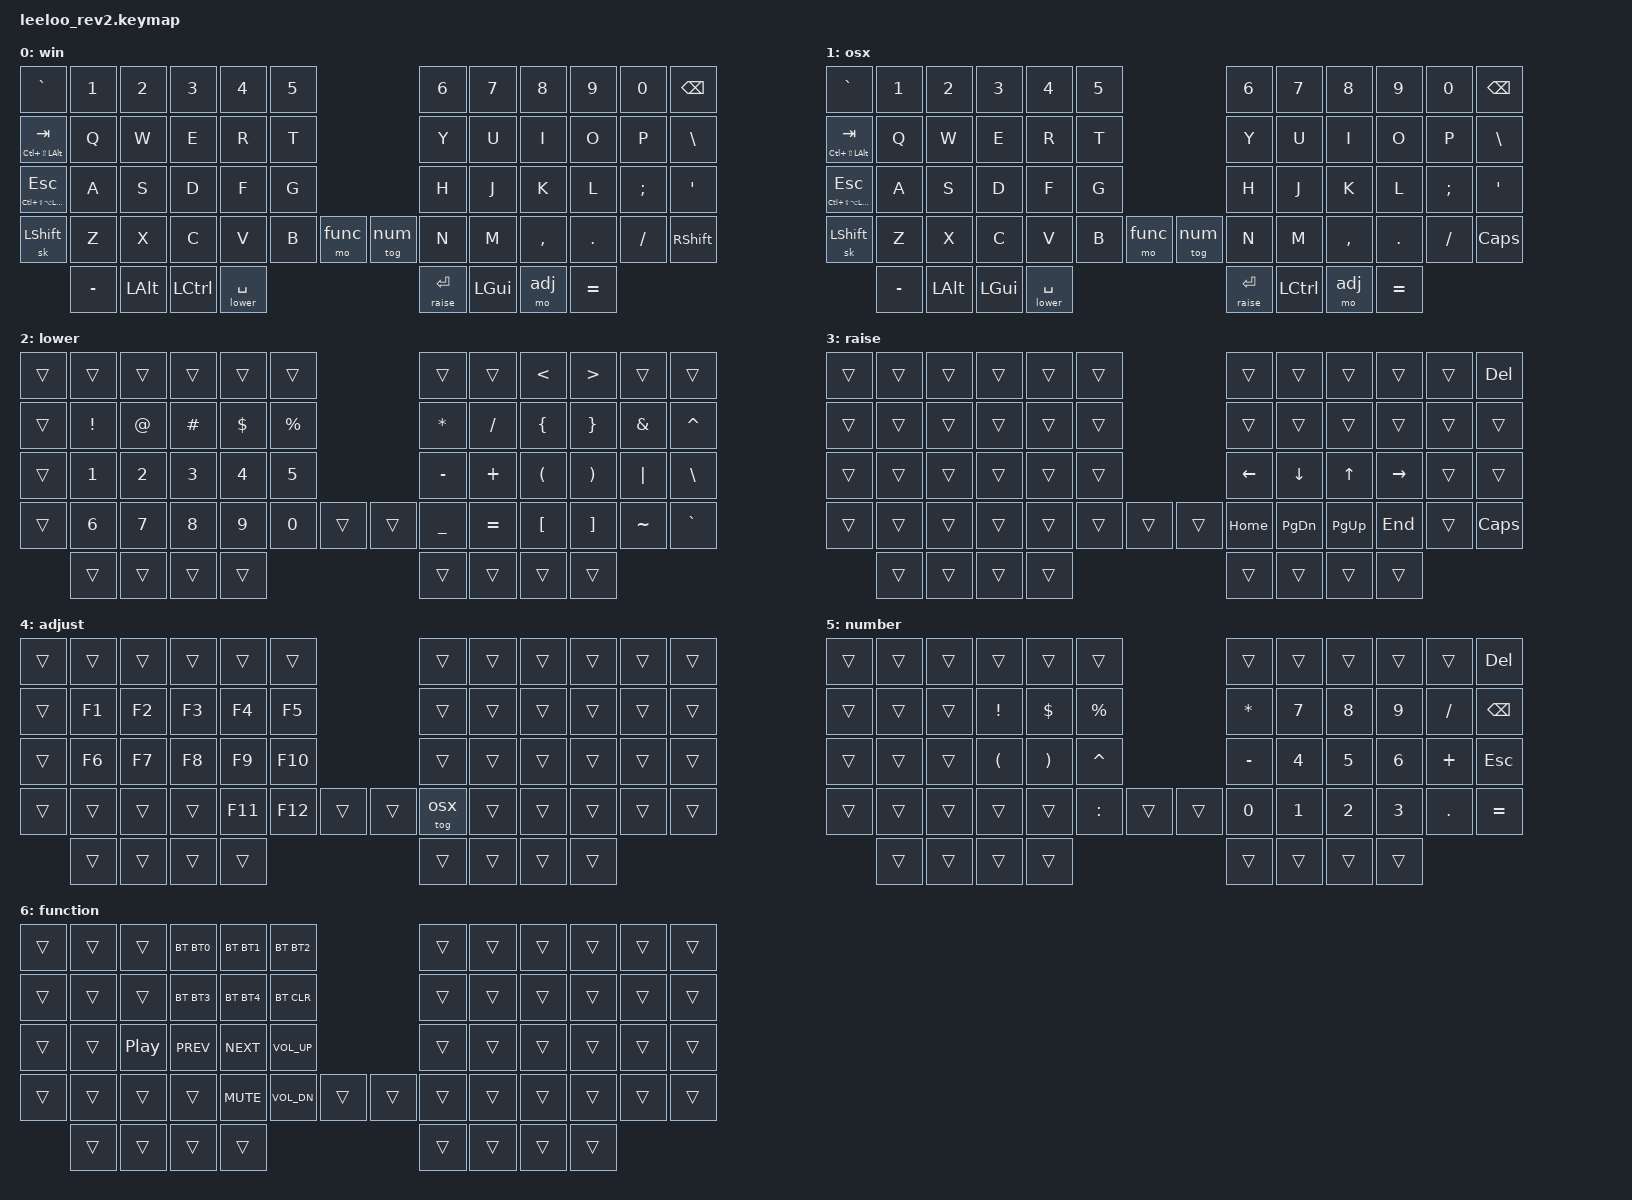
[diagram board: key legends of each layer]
/*
 * Copyright (c) 2023 The ZMK Contributors

 * SPDX-License-Identifier: MIT
 */

#include <behaviors.dtsi>
#include <dt-bindings/zmk/keys.h>
#include <dt-bindings/zmk/bt.h>

#define hyper   LC(LS(LA(LGUI)))
#define meh     LC(LS(LALT))

#define BT0     BT_SEL 0
#define BT1     BT_SEL 1
#define BT2     BT_SEL 2
#define BT3     BT_SEL 3
#define BT4     BT_SEL 4
#define BTC     BT_CLR

#define PP      C_PP
#define VOLUP   C_VOL_UP
#define VOLDN   C_VOL_DN
#define MUTE    C_MUTE
#define NEXT    C_NEXT
#define PREV    C_PREV

#define win     0
#define osx     1
#define lower   2
#define raise   3
#define adj     4
#define num     5
#define func    6

/ {
    keymap {
        compatible = "zmk,keymap";
        win_layer {
            label = "win";
            bindings = <
&kp GRAVE     &kp N1  &kp N2  &kp N3  &kp N4  &kp N5                        &kp N6  &kp N7  &kp N8      &kp N9  &kp N0      &kp BSPC
&mt meh TAB   &kp Q   &kp W   &kp E   &kp R   &kp T                         &kp Y   &kp U   &kp I       &kp O   &kp P       &kp BSLH
&mt hyper ESC &kp A   &kp S   &kp D   &kp F   &kp G                         &kp H   &kp J   &kp K       &kp L   &kp SEMI    &kp SQT
&sk LSHFT     &kp Z   &kp X   &kp C   &kp V   &kp B  &mo func     &tog num  &kp N   &kp M   &kp COMMA   &kp DOT &kp FSLH    &kp RSHFT
                 &kp MINUS &kp LALT &kp LCTRL &lt lower SPACE     &lt raise RET &kp LGUI &mo adj &kp EQUAL
            >;
        };

        osx_layer {
            label = "osx";
            bindings = <
&kp GRAVE     &kp N1  &kp N2  &kp N3  &kp N4  &kp N5                        &kp N6  &kp N7  &kp N8      &kp N9  &kp N0      &kp BSPC
&mt meh TAB   &kp Q   &kp W   &kp E   &kp R   &kp T                         &kp Y   &kp U   &kp I       &kp O   &kp P       &kp BSLH
&mt hyper ESC &kp A   &kp S   &kp D   &kp F   &kp G                         &kp H   &kp J   &kp K       &kp L   &kp SEMI    &kp SQT
&sk LSHFT     &kp Z   &kp X   &kp C   &kp V   &kp B  &mo func     &tog num  &kp N   &kp M   &kp COMMA   &kp DOT &kp FSLH    &kp CAPS
                  &kp MINUS &kp LALT &kp LGUI &lt lower SPACE     &lt raise RET &kp LCTRL &mo adj &kp EQUAL
            >;
        };

        lower_layer {
            label = "lower";
            bindings = <
&trans &trans   &trans &trans   &trans   &trans                  &trans    &trans    &kp LT   &kp GT   &trans    &trans
&trans &kp EXCL &kp AT &kp HASH &kp DLLR &kp PRCNT               &kp STAR  &kp FSLH  &kp LBRC &kp RBRC &kp AMPS  &kp CARET
&trans &kp N1   &kp N2 &kp N3   &kp N4   &kp N5                  &kp MINUS &kp PLUS  &kp LPAR &kp RPAR &kp PIPE  &kp BSLH
&trans &kp N6   &kp N7 &kp N8   &kp N9   &kp N0  &trans   &trans &kp UNDER &kp EQUAL &kp LBKT &kp RBKT &kp TILDE &kp GRAVE
                            &trans &trans &trans &trans   &trans &trans &trans &trans
            >;
        };

        raise_layer {
            label = "raise";
            bindings = <
&trans &trans &trans &trans &trans &trans                      &trans &trans &trans &trans &trans &kp DEL
&trans &trans &trans &trans &trans &trans                      &trans &trans &trans &trans &trans &trans
&trans &trans &trans &trans &trans &trans                      &kp LEFT &kp DOWN  &kp UP     &kp RIGHT &trans &trans
&trans &trans &trans &trans &trans &trans &trans        &trans &kp HOME &kp PG_DN &kp PG_UP  &kp END   &trans &kp CAPS
                     &trans &trans &trans &trans        &trans &trans &trans &trans
            >;
        };

        adjust_layer {
            label = "adjust";
            bindings = <
&trans  &trans  &trans  &trans  &trans  &trans                      &trans  &trans  &trans  &trans  &trans  &trans
&trans  &kp F1  &kp F2  &kp F3  &kp F4  &kp F5                      &trans  &trans  &trans  &trans  &trans  &trans
&trans  &kp F6  &kp F7  &kp F8  &kp F9  &kp F10                     &trans  &trans  &trans  &trans  &trans  &trans
&trans  &trans  &trans  &trans  &kp F11 &kp F12 &trans      &trans  &tog osx  &trans  &trans  &trans  &trans  &trans
                        &trans  &trans  &trans  &trans      &trans  &trans  &trans  &trans
            >;
        };

        number_layer {
            label = "number";
            bindings = <
&trans  &trans  &trans  &trans   &trans   &trans                        &trans  &trans  &trans  &trans  &trans  &kp DEL
&trans  &trans  &trans  &kp EXCL &kp DLLR &kp PRCNT                     &kp STAR &kp N7 &kp N8 &kp N9 &kp FSLH &kp BSPC
&trans  &trans  &trans  &kp LPAR &kp RPAR &kp CARET                     &kp MINUS &kp N4 &kp N5 &kp N6 &kp PLUS &kp ESC
&trans  &trans  &trans  &trans   &trans   &kp COLON  &trans     &trans  &kp N0   &kp N1 &kp N2 &kp N3 &kp DOT  &kp EQUAL
                        &trans  &trans  &trans  &trans      &trans  &trans &trans &trans
            >;
        };

        function_layer {
            label = "function";
            bindings = <
&trans  &trans  &trans &bt BT0  &bt BT1  &bt BT2                     &trans  &trans  &trans  &trans  &trans  &trans
&trans  &trans  &trans &bt BT3  &bt BT4  &bt BTC                      &trans  &trans  &trans  &trans  &trans  &trans
&trans  &trans  &kp PP &kp PREV &kp NEXT &kp VOLUP                   &trans  &trans  &trans  &trans  &trans  &trans
&trans  &trans  &trans &trans   &kp MUTE &kp VOLDN  &trans      &trans  &trans  &trans  &trans  &trans  &trans  &trans
                                &trans  &trans  &trans  &trans     &trans  &trans  &trans  &trans
            >;
        };
    };
};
